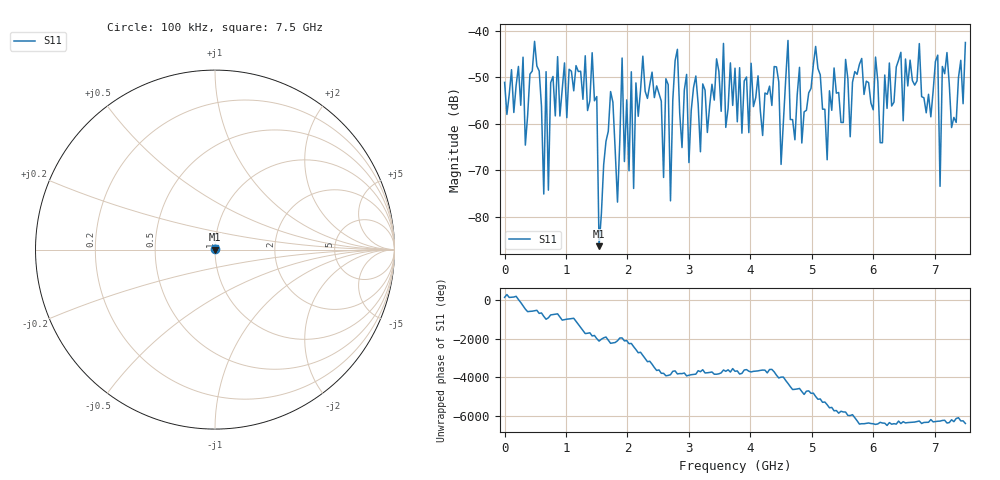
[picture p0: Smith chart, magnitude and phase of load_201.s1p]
# Hz S RI R 50.000000
! FREQ  re:S1  1  im:S1  1
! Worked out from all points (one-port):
!   201 points, 100 kHz to 7.5 GHz, reference 50 ohm
!   lowest |S11| = -86.4 dB at 1.538 GHz (marker M1), VSWR 1.00, Z = 50 + j0.0023 ohm
!   |S11| at or under -10 dB: start of sweep to end of sweep
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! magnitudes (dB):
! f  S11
! 100 kHz  -51.2
! 337.6 MHz  -64.6
! 487.6 MHz  -42.3
! 637.6 MHz  -75.2
! 675.1 MHz  -48.9
! 712.6 MHz  -74.3
! 750.1 MHz  -51.2
! 937.6 MHz  -52.7
! 1.425 GHz  -44.8
! 1.538 GHz  -86.4
! 1.875 GHz  -63.7
! 2.025 GHz  -70.1
! 2.063 GHz  -48.9
! 2.1 GHz  -74.0
! 2.25 GHz  -45.5
! 2.588 GHz  -71.6
! 2.625 GHz  -50.4
! 2.7 GHz  -76.6
! 2.813 GHz  -44.0
! 3 GHz  -68.4
! 3.75 GHz  -48.1
! 4.687 GHz  -59.2
! 5.625 GHz  -62.8
! 6.562 GHz  -51.9
! 7.05 GHz  -45.3
! 7.087 GHz  -73.5
! 7.125 GHz  -47.7
! 7.5 GHz  -42.6
